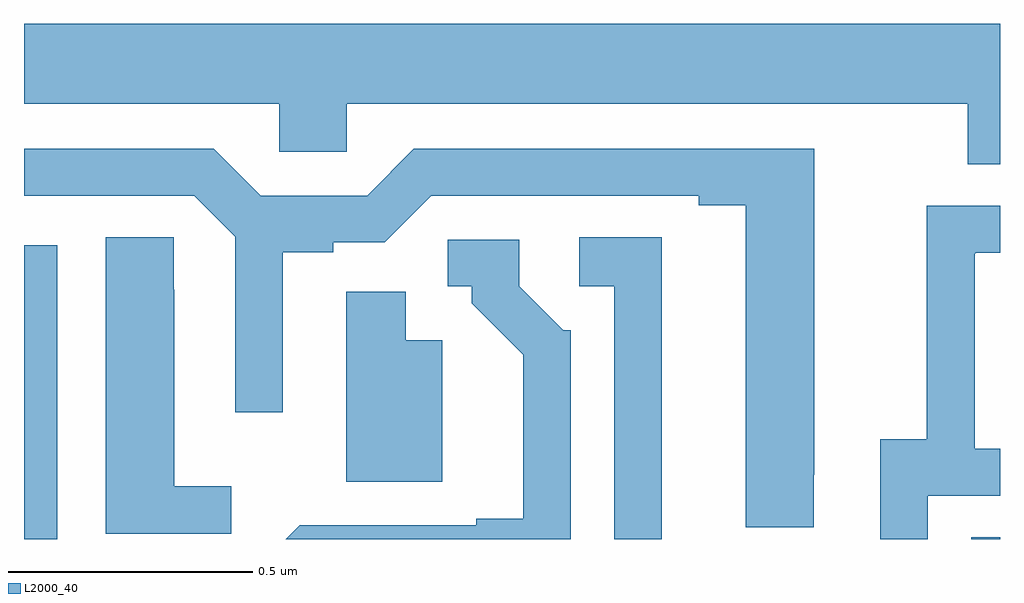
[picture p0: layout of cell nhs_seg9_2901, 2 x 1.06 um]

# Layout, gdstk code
import gdstk
lib = gdstk.Library(unit=1e-6, precision=1e-09)
def R(c, l, rs):  # rectangles x0, y0, x1, y1
    for r in rs: c.add(gdstk.rectangle(r[:2], r[2:], *l))
def P(c, l, *ps):  # polygons
    for p in ps: c.add(gdstk.Polygon(p, *l))
L2000_40 = (2000, 40)

nhs_seg9_2901 = lib.new_cell('nhs_seg9_2901')
R(nhs_seg9_2901, L2000_40, [(146,1223.5,146.068,1224.102), (147.941,1223.5,148,1223.504)])
P(nhs_seg9_2901, L2000_40, [(148,1224.556),(146,1224.556),(146,1224.392),(146.523,1224.392),(146.523,1224.294),(146.661,1224.294),(146.661,1224.392),(147.934,1224.392),(147.934,1224.268),(148,1224.268)],
  [(147.618,1223.632),(147.619,1223.632),(147.619,1224.3),(146.799,1224.3),(146.703,1224.204),(146.485,1224.204),(146.389,1224.3),(146,1224.3),(146,1224.204),(146.349,1224.204),(146.433,1224.12),(146.433,1223.76),(146.53,1223.76),(146.53,1224.088),(146.634,1224.088),(146.634,1224.108),(146.739,1224.108),(146.835,1224.204),(147.383,1224.204),(147.383,1224.184),(147.479,1224.184),(147.479,1223.524),(147.618,1223.524)],
  [(147.852,1223.589),(148,1223.589),(148,1223.685),(147.948,1223.685),(147.948,1224.086),(147.95,1224.086),(147.95,1224.087),(148,1224.087),(148,1224.183),(147.85,1224.183),(147.85,1223.705),(147.755,1223.705),(147.755,1223.5),(147.852,1223.5)],
  [(147.307,1224.119),(147.138,1224.119),(147.138,1224.018),(147.21,1224.018),(147.21,1223.5),(147.307,1223.5)],
  [(146.425,1223.608),(146.308,1223.608),(146.308,1224.011),(146.307,1224.011),(146.307,1224.119),(146.168,1224.119),(146.168,1223.511),(146.425,1223.511)],
  [(147.12,1223.928),(147.105,1223.928),(147.015,1224.018),(147.015,1224.114),(146.868,1224.114),(146.868,1224.018),(146.918,1224.018),(146.918,1223.983),(147.023,1223.878),(147.023,1223.542),(146.927,1223.542),(146.927,1223.529),(146.565,1223.529),(146.536,1223.5),(147.12,1223.5)],
  [(146.857,1223.908),(146.782,1223.908),(146.782,1224.007),(146.66,1224.007),(146.66,1223.618),(146.857,1223.618)])

lib.write_gds('nhs_seg9_2901.gds')
